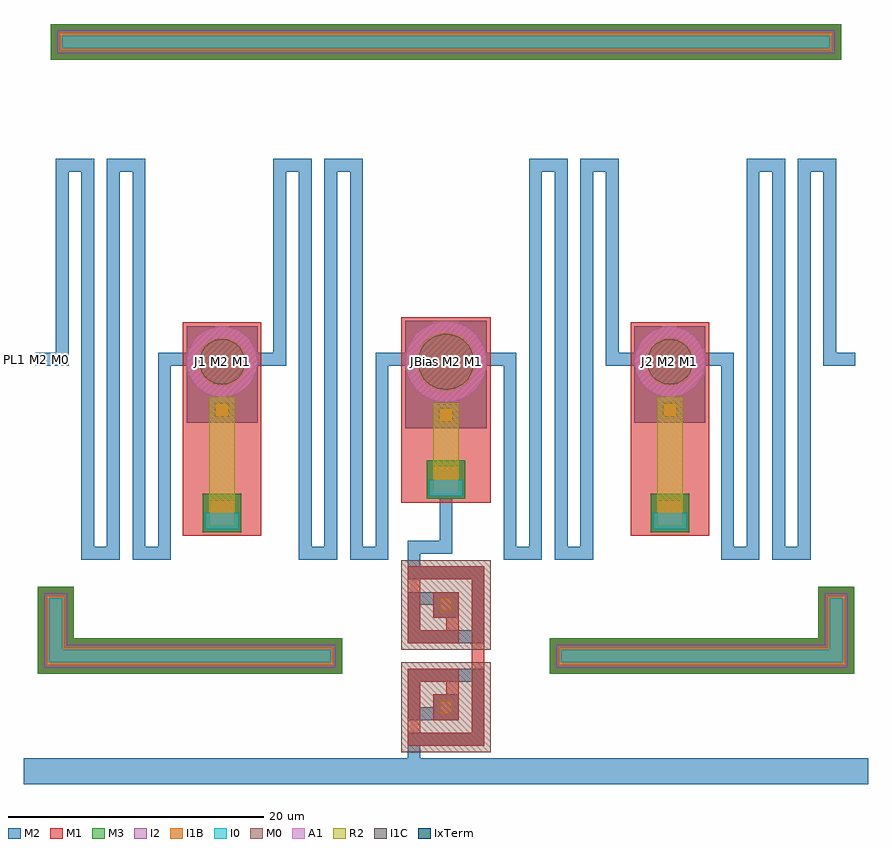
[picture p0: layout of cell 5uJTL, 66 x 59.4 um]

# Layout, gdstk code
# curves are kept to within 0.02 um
from math import pi, radians
import gdstk
lib = gdstk.Library(unit=1e-6, precision=1e-09)
def R(c, l, rs):  # rectangles x0, y0, x1, y1
    for r in rs: c.add(gdstk.rectangle(r[:2], r[2:], *l))
def P(c, l, *ps):  # polygons
    for p in ps: c.add(gdstk.Polygon(p, *l))
M1 = (1, 0)
I1B = (3, 0)
I1C = (4, 0)
A1 = (5, 0)
M2 = (6, 0)
I2 = (8, 0)
R2 = (9, 0)
M3 = (10, 0)
M0 = (30, 0)
I0 = (31, 0)
IxTerm = (63, 0)

jj_24 = lib.new_cell('JJ$24')
R(jj_24, M1, [(-3.079,-13.605,3.079,3.079)])
R(jj_24, I1B, [(-1,-12.805,1,-10.805), (-0.5,-4.279,0.5,-3.279)])
P(jj_24, I1B, [(0,-1.873),(-0.365,-1.837),(-0.717,-1.731),(-1.041,-1.558),(-1.325,-1.325),(-1.558,-1.041),(-1.731,-0.717),(-1.837,-0.365),(-1.873,0),(-1.837,0.365),(-1.731,0.717),(-1.558,1.041),(-1.325,1.325),(-1.041,1.558),(-0.717,1.731),(-0.365,1.837),(0,1.873),(0.365,1.837),(0.717,1.731),(1.041,1.558),(1.325,1.325),(1.558,1.041),(1.731,0.717),(1.837,0.365),(1.873,0),(1.837,-0.365),(1.731,-0.717),(1.558,-1.041),(1.325,-1.325),(1.041,-1.558),(0.717,-1.731),(0.365,-1.837)])
P(jj_24, I1C, [(0,-1.784),(-0.348,-1.75),(-0.683,-1.648),(-0.991,-1.483),(-1.262,-1.262),(-1.483,-0.991),(-1.648,-0.683),(-1.75,-0.348),(-1.784,0),(-1.75,0.348),(-1.648,0.683),(-1.483,0.991),(-1.262,1.262),(-0.991,1.483),(-0.683,1.648),(-0.348,1.75),(0,1.784),(0.348,1.75),(0.683,1.648),(0.991,1.483),(1.262,1.262),(1.483,0.991),(1.648,0.683),(1.75,0.348),(1.784,0),(1.75,-0.348),(1.648,-0.683),(1.483,-0.991),(1.262,-1.262),(0.991,-1.483),(0.683,-1.648),(0.348,-1.75)])
P(jj_24, A1, [(0,-2.78),(-0.542,-2.727),(-1.064,-2.568),(-1.544,-2.311),(-1.966,-1.966),(-2.311,-1.544),(-2.568,-1.064),(-2.727,-0.542),(-2.78,0),(-2.727,0.542),(-2.568,1.064),(-2.311,1.544),(-1.966,1.966),(-1.544,2.311),(-1.064,2.568),(-0.542,2.727),(0,2.78),(0.542,2.727),(1.064,2.568),(1.544,2.311),(1.966,1.966),(2.311,1.544),(2.568,1.064),(2.727,0.542),(2.78,0),(2.727,-0.542),(2.568,-1.064),(2.311,-1.544),(1.966,-1.966),(1.544,-2.311),(1.064,-2.568),(0.542,-2.727)])
R(jj_24, M2, [(-1.5,-13.305,1.5,-10.305), (-2.779,-4.779,2.779,-2.779), (-2.779,-2.779,2.779,2.779)])
R(jj_24, I2, [(-1,-12.805,1,-10.805)])
R(jj_24, M3, [(-1.5,-13.305,1.5,-10.305)])
R(jj_24, I0, [(-1.3,-13.105,1.3,-11.805)])
jj_24.add(gdstk.FlexPath([(0,-2.779),(0,-11.805)], 2, ends="flush", simple_path=True, layer=9, datatype=0))  # R2

jj_31 = lib.new_cell('JJ$31')
R(jj_31, M1, [(-3.489,-11.007,3.489,3.489)])
R(jj_31, I1B, [(-1,-10.207,1,-8.207), (-0.5,-4.689,0.5,-3.689)])
P(jj_31, I1B, [(0,-2.294),(-0.448,-2.25),(-0.878,-2.12),(-1.275,-1.908),(-1.622,-1.622),(-1.908,-1.275),(-2.12,-0.878),(-2.25,-0.448),(-2.294,0),(-2.25,0.448),(-2.12,0.878),(-1.908,1.275),(-1.622,1.622),(-1.275,1.908),(-0.878,2.12),(-0.448,2.25),(0,2.294),(0.448,2.25),(0.878,2.12),(1.275,1.908),(1.622,1.622),(1.908,1.275),(2.12,0.878),(2.25,0.448),(2.294,0),(2.25,-0.448),(2.12,-0.878),(1.908,-1.275),(1.622,-1.622),(1.275,-1.908),(0.878,-2.12),(0.448,-2.25)])
P(jj_31, I1C, [(0,-2.185),(-0.426,-2.143),(-0.836,-2.019),(-1.214,-1.817),(-1.545,-1.545),(-1.817,-1.214),(-2.019,-0.836),(-2.143,-0.426),(-2.185,0),(-2.143,0.426),(-2.019,0.836),(-1.817,1.214),(-1.545,1.545),(-1.214,1.817),(-0.836,2.019),(-0.426,2.143),(0,2.185),(0.426,2.143),(0.836,2.019),(1.214,1.817),(1.545,1.545),(1.817,1.214),(2.019,0.836),(2.143,0.426),(2.185,0),(2.143,-0.426),(2.019,-0.836),(1.817,-1.214),(1.545,-1.545),(1.214,-1.817),(0.836,-2.019),(0.426,-2.143)])
P(jj_31, A1, [(0,-3.19),(-0.622,-3.129),(-1.221,-2.947),(-1.772,-2.652),(-2.256,-2.256),(-2.652,-1.772),(-2.947,-1.221),(-3.129,-0.622),(-3.19,0),(-3.129,0.622),(-2.947,1.221),(-2.652,1.772),(-2.256,2.256),(-1.772,2.652),(-1.221,2.947),(-0.622,3.129),(0,3.19),(0.622,3.129),(1.221,2.947),(1.772,2.652),(2.256,2.256),(2.652,1.772),(2.947,1.221),(3.129,0.622),(3.19,0),(3.129,-0.622),(2.947,-1.221),(2.652,-1.772),(2.256,-2.256),(1.772,-2.652),(1.221,-2.947),(0.622,-3.129)])
R(jj_31, M2, [(-1.5,-10.707,1.5,-7.707), (-3.19,-5.189,3.19,-3.19), (-3.19,-3.19,3.19,3.19)])
R(jj_31, I2, [(-1,-10.207,1,-8.207)])
R(jj_31, M3, [(-1.5,-10.707,1.5,-7.707)])
R(jj_31, I0, [(-1.3,-10.507,1.3,-9.207)])
jj_31.add(gdstk.FlexPath([(0,-3.19),(0,-9.207)], 2, ends="flush", simple_path=True, layer=9, datatype=0))  # R2

meanderinductor_27 = lib.new_cell('MeanderInductor$27')
meanderinductor_27.add(gdstk.FlexPath([(-6,0),(-4,0),(-4,15.17),(-2,15.17),(-2,-15.17),(0,-15.17),(0,15.17),(2,15.17),(2,-15.17),(4,-15.17),(4,0),(6,0)], 1, ends="flush", simple_path=True, layer=6, datatype=0))  # M2

ak6vm21 = lib.new_cell('AK6VM21')
R(ak6vm21, M1, [(-1,-1,1,1)])
R(ak6vm21, I1B, [(-0.5,-0.5,0.5,0.5)])
R(ak6vm21, M2, [(-1,-1,1,1)])

ak6mon103 = lib.new_cell('AK6MON103')
R(ak6mon103, M0, [(-6,0.5,1,7.5)])
ak6mon103.add(gdstk.FlexPath([(0,0),(0,1.5),(-5,1.5),(-5,6.5),(0,6.5),(0,3.5),(-1,3.5),(-1.5,3.5)], 1, ends="flush", simple_path=True, layer=6, datatype=0))  # M2
ak6mon103.add(gdstk.FlexPath([(-3,5),(-3,6.5),(0,6.5),(0,1.5),(-5,1.5),(-5,8)], 1, ends="flush", simple_path=True, layer=1, datatype=0))  # M1
ak6mon103.add(gdstk.Reference(ak6vm21, (-2.5,4)))

via_m3_m0_6 = lib.new_cell('Via$M3-M0$6')
via_m3_m0_6.add(gdstk.FlexPath([(-11.199,0),(11.199,0)], 1.399, ends="flush", simple_path=True, layer=3, datatype=0))  # I1B
via_m3_m0_6.add(gdstk.FlexPath([(-11.899,0),(11.899,0)], 2.799, ends="flush", simple_path=True, layer=6, datatype=0))  # M2
via_m3_m0_6.add(gdstk.FlexPath([(-11.899,0),(11.899,0)], 2.799, ends="flush", simple_path=True, layer=1, datatype=0))  # M1
via_m3_m0_6.add(gdstk.FlexPath([(-11.399,0),(11.399,0)], 1.8, ends="flush", simple_path=True, layer=8, datatype=0))  # I2
via_m3_m0_6.add(gdstk.FlexPath([(-11.899,0),(11.899,0)], 2.799, ends="flush", simple_path=True, layer=10, datatype=0))  # M3
via_m3_m0_6.add(gdstk.FlexPath([(-11,0),(11,0)], 1, ends="flush", simple_path=True, layer=31, datatype=0))  # I0

via_m3_m0_1 = lib.new_cell('Via$M3-M0$1')
via_m3_m0_1.add(gdstk.FlexPath([(-30.2,0),(30.2,0)], 1.399, ends="flush", simple_path=True, layer=3, datatype=0))  # I1B
via_m3_m0_1.add(gdstk.FlexPath([(-30.899,0),(30.899,0)], 2.799, ends="flush", simple_path=True, layer=6, datatype=0))  # M2
via_m3_m0_1.add(gdstk.FlexPath([(-30.899,0),(30.899,0)], 2.799, ends="flush", simple_path=True, layer=1, datatype=0))  # M1
via_m3_m0_1.add(gdstk.FlexPath([(-30.399,0),(30.399,0)], 1.8, ends="flush", simple_path=True, layer=8, datatype=0))  # I2
via_m3_m0_1.add(gdstk.FlexPath([(-30.899,0),(30.899,0)], 2.799, ends="flush", simple_path=True, layer=10, datatype=0))  # M3
via_m3_m0_1.add(gdstk.FlexPath([(-30,0),(30,0)], 1, ends="flush", simple_path=True, layer=31, datatype=0))  # I0

via_m3_m0_5 = lib.new_cell('Via$M3-M0$5')
via_m3_m0_5.add(gdstk.FlexPath([(-2.7,0),(2.7,0)], 1.399, ends="flush", simple_path=True, layer=3, datatype=0))  # I1B
via_m3_m0_5.add(gdstk.FlexPath([(-3.4,0),(3.4,0)], 2.799, ends="flush", simple_path=True, layer=6, datatype=0))  # M2
via_m3_m0_5.add(gdstk.FlexPath([(-3.4,0),(3.4,0)], 2.799, ends="flush", simple_path=True, layer=1, datatype=0))  # M1
via_m3_m0_5.add(gdstk.FlexPath([(-2.9,0),(2.9,0)], 1.8, ends="flush", simple_path=True, layer=8, datatype=0))  # I2
via_m3_m0_5.add(gdstk.FlexPath([(-3.4,0),(3.4,0)], 2.799, ends="flush", simple_path=True, layer=10, datatype=0))  # M3
via_m3_m0_5.add(gdstk.FlexPath([(-2.5,0),(2.5,0)], 1, ends="flush", simple_path=True, layer=31, datatype=0))  # I0

c_5ujtl = lib.new_cell('5uJTL')
c_5ujtl.add(gdstk.FlexPath([(0,-9.5),(0,-14.5),(-3,-14.5)], 1, ends="flush", simple_path=True, layer=6, datatype=0))  # M2
c_5ujtl.add(gdstk.FlexPath([(-33,-32),(33,-32)], 2, ends="flush", simple_path=True, layer=6, datatype=0))  # M2
c_5ujtl.add(gdstk.FlexPath([(-32,0.701),(-32,-0.299)], 0.1, ends="flush", simple_path=True, layer=63, datatype=0))  # IxTerm
c_5ujtl.add(gdstk.Reference(jj_24, (17.5,0)))
c_5ujtl.add(gdstk.Reference(jj_31, (0,0)))
c_5ujtl.add(gdstk.Reference(meanderinductor_27, (-9,0.201)))
c_5ujtl.add(gdstk.Reference(meanderinductor_27, (9,0.201), x_reflection=True))
c_5ujtl.add(gdstk.Reference(meanderinductor_27, (26,0.201), x_reflection=True))
c_5ujtl.add(gdstk.Reference(meanderinductor_27, (-26,0.201)))
c_5ujtl.add(gdstk.Reference(ak6mon103, (-2.5,-15), rotation=pi))
c_5ujtl.add(gdstk.Reference(ak6mon103, (-2.5,-31), rotation=pi, x_reflection=True))
c_5ujtl.add(gdstk.Reference(via_m3_m0_6, (20,-23)))
c_5ujtl.add(gdstk.Reference(via_m3_m0_6, (-20,-23)))
c_5ujtl.add(gdstk.Reference(via_m3_m0_1, (0,25)))
c_5ujtl.add(gdstk.Reference(via_m3_m0_5, (30.5,-21), rotation=3*pi/2))
c_5ujtl.add(gdstk.Reference(via_m3_m0_5, (-30.5,-21), rotation=3*pi/2))
c_5ujtl.add(gdstk.Reference(jj_24, (-17.5,0)))
c_5ujtl.add(gdstk.Label('J1 M2 M1', (-17.5,0), layer=64, texttype=0))
c_5ujtl.add(gdstk.Label('PL1 M2 M0', (-32,0.201), layer=64, texttype=0))
c_5ujtl.add(gdstk.Label('JBias M2 M1', (0,0), layer=64, texttype=0))
c_5ujtl.add(gdstk.Label('J2 M2 M1', (17.5,0), layer=64, texttype=0))

lib.write_gds('5uJTL.gds')
